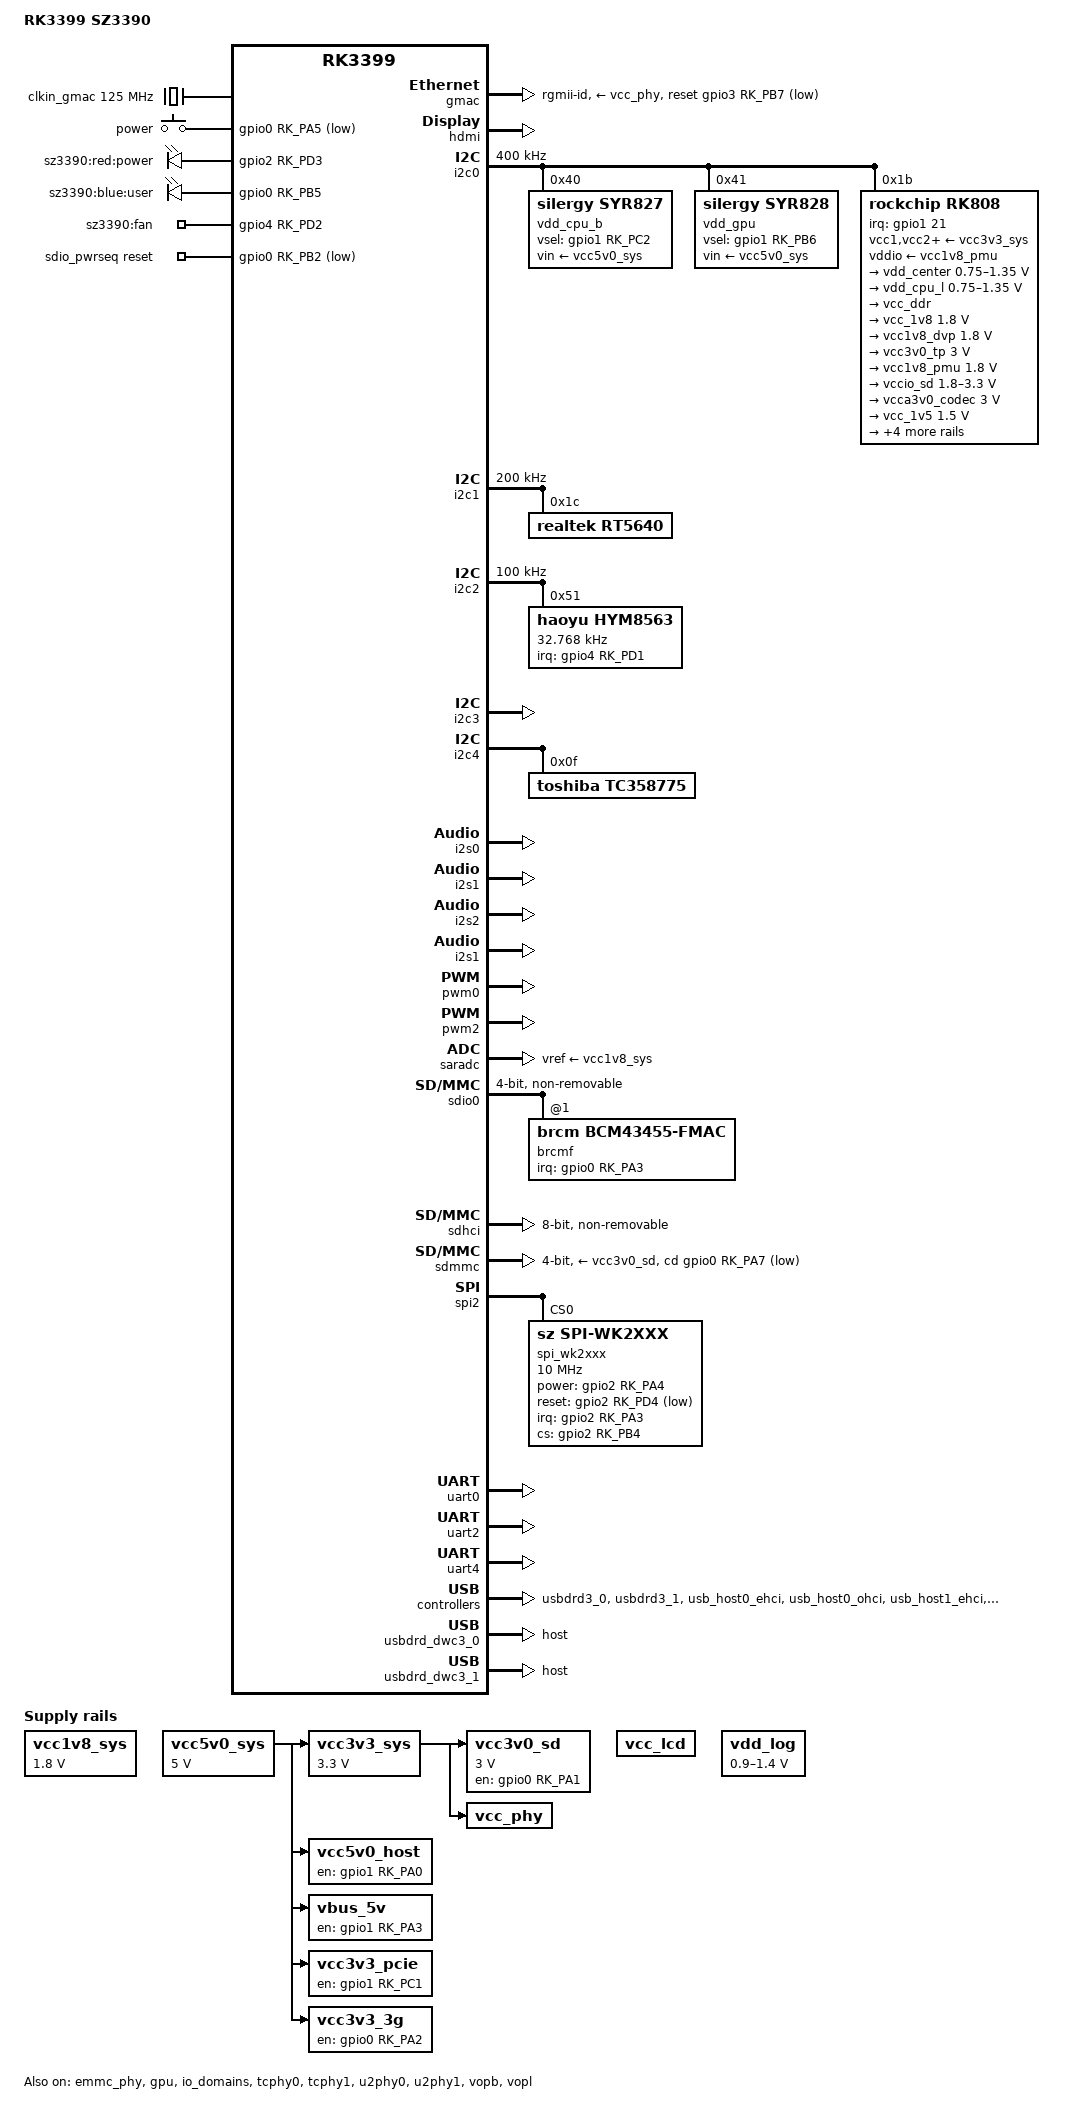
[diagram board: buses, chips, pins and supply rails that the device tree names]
/dts-v1/;
#include "dt-bindings/pwm/pwm.h"
#include "dt-bindings/input/input.h"
#include "rk3399.dtsi"
#include "rk3399-op1.dtsi"

/ {
	model = "RK3399 SZ3390";
	compatible = "rockchip,rk3399-sz3390", "rockchip,rk3399";

	clkin_gmac: external-gmac-clock {
		compatible = "fixed-clock";
		clock-frequency = <125000000>;
		clock-output-names = "clkin_gmac";
		#clock-cells = <0>;
	};

	rt5640-sound {
    	compatible = "simple-audio-card";

    	simple-audio-card,name = "rockchip,rt5640-codec";

    	simple-audio-card,format = "i2s";

    	simple-audio-card,mclk-fs = <256>;

    	simple-audio-card,widgets =
        	"Microphone", "Mic Jack",
        	"Headphone", "Headphone Jack";

    	simple-audio-card,routing =
        	"Mic Jack", "MICBIAS1",
        	"IN1P", "Mic Jack",
        	"Headphone Jack", "HPOL",
        	"Headphone Jack", "HPOR";


    	simple-audio-card,cpu {
        	sound-dai = <&i2s1>;
    	};

    	simple-audio-card,codec {
        	sound-dai = <&rt5640>;
    	};
	};
	hdmi-codec {
		compatible = "simple-audio-card";
		simple-audio-card,format = "i2s";
		simple-audio-card,mclk-fs = <256>;
		simple-audio-card,name = "HDMI-CODEC";

		simple-audio-card,cpu {
			sound-dai = <&i2s2>;
		};

		simple-audio-card,codec {
			sound-dai = <&hdmi>;
		};
	};

	gpio-keys {
		compatible = "gpio-keys";

		power {
			gpios = <&gpio0 RK_PA5 GPIO_ACTIVE_LOW>;
			linux,code = <KEY_POWER>;
			label = "power";
			gpio-key,wakeup;
		};
	};

	leds {
		compatible = "gpio-leds";

		power {
			label = "sz3390:red:power";
			gpios = <&gpio2 RK_PD3 GPIO_ACTIVE_HIGH>;
			default-state = "on";
		};

		user {
			label = "sz3390:blue:user";
			gpios = <&gpio0 RK_PB5 GPIO_ACTIVE_HIGH>;
			default-state = "off";
		};

		fan {
			label = "sz3390:fan";
			gpios = <&gpio4 RK_PD2 GPIO_ACTIVE_HIGH>;
			default-state = "on";
		};
	};

	sdio_pwrseq: sdio-pwrseq {
		compatible = "mmc-pwrseq-simple";
		clocks = <&rk808 1>;
		clock-names = "ext_clock";
		pinctrl-names = "default";
		pinctrl-0 = <&wifi_enable_h>;
		reset-gpios = <&gpio0 RK_PB2 GPIO_ACTIVE_LOW>;
	};

	/* SARADC（Android: vccadc-ref/vcc1v8_sys） */
	vcc1v8_sys: vcc1v8-sys {
		compatible = "regulator-fixed";
		regulator-name = "vcc1v8_sys";
		regulator-always-on;
		regulator-boot-on;
		regulator-min-microvolt = <1800000>;
		regulator-max-microvolt = <1800000>;
	};

	vcc3v0_sd: vcc3v0-sd {
		compatible = "regulator-fixed";
		enable-active-high;
		gpio = <&gpio0 RK_PA1 GPIO_ACTIVE_HIGH>;
		pinctrl-names = "default";
		pinctrl-0 = <&sdmmc0_pwr_h>;
		regulator-always-on;
		regulator-max-microvolt = <3000000>;
		regulator-min-microvolt = <3000000>;
		regulator-name = "vcc_sd";
		vin-supply = <&vcc3v3_sys>;
	};

	vcc3v3_sys: vcc3v3-sys {
		compatible = "regulator-fixed";
		regulator-name = "vcc3v3_sys";
		regulator-always-on;
		regulator-boot-on;
		regulator-min-microvolt = <3300000>;
		regulator-max-microvolt = <3300000>;
		vin-supply = <&vcc5v0_sys>;
	};

	vcc5v0_sys: vcc5v0-sys {
		compatible = "regulator-fixed";
		regulator-name = "vcc5v0_sys";
		regulator-always-on;
		regulator-boot-on;
		regulator-min-microvolt = <5000000>;
		regulator-max-microvolt = <5000000>;
		regulator-state-mem {
			regulator-on-in-suspend;
			regulator-suspend-microvolt = <5000000>;
		};
	};

	/* USB2 HOST 5V */
	vcc5v0_host: vcc5v0-host-regulator {
		compatible = "regulator-fixed";
		enable-active-high;
		gpio = <&gpio1 RK_PA0 GPIO_ACTIVE_HIGH>;
		regulator-name = "vcc5v0_host";
		regulator-always-on;
		vin-supply = <&vcc5v0_sys>;
	};

	/* Type-C/OTG VBUS 5V */
	vbus_5v: vbus-5v-regulator {
		compatible = "regulator-fixed";
		enable-active-high;
		gpio = <&gpio1 RK_PA3 GPIO_ACTIVE_HIGH>;
		regulator-name = "vbus_5v";
		regulator-always-on;
		regulator-boot-on;
		vin-supply = <&vcc5v0_sys>;
	};

	vcc3v3_pcie: vcc3v3-pcie-regulator {
		compatible = "regulator-fixed";
		enable-active-high;
		gpio = <&gpio1 RK_PC1 GPIO_ACTIVE_HIGH>;
		regulator-name = "vcc3v3_pcie";
		regulator-always-on;
		regulator-boot-on;
		vin-supply = <&vcc5v0_sys>;
	};

	vcc3v3_3g: vcc3v3-3g-regulator {
		compatible = "regulator-fixed";
		enable-active-high;
		gpio = <&gpio0 RK_PA2 GPIO_ACTIVE_HIGH>;
		regulator-name = "vcc3v3_3g";
		regulator-always-on;
		regulator-boot-on;
		vin-supply = <&vcc5v0_sys>;
	};

	vcc_phy: vcc-phy-regulator {
		compatible = "regulator-fixed";
		regulator-name = "vcc_phy";
		regulator-always-on;
		regulator-boot-on;
		vin-supply = <&vcc3v3_sys>;
	};

	vcc_lcd: vcc-lcd-regulator {
		compatible = "regulator-fixed";
		regulator-name = "vcc_lcd";
		regulator-always-on;
		regulator-boot-on;
	};

	vdd_log: vdd-log {
		compatible = "pwm-regulator";
		pwms = <&pwm2 0 25000 1>;
		regulator-name = "vdd_log";
		regulator-min-microvolt = <900000>;
		regulator-max-microvolt = <1400000>;
		regulator-always-on;
		regulator-boot-on;
	};
};

&cpu_l0 {
	cpu-supply = <&vdd_cpu_l>;
};

&cpu_l1 {
	cpu-supply = <&vdd_cpu_l>;
};

&cpu_l2 {
	cpu-supply = <&vdd_cpu_l>;
};

&cpu_l3 {
	cpu-supply = <&vdd_cpu_l>;
};

&cpu_b0 {
	cpu-supply = <&vdd_cpu_b>;
};

&cpu_b1 {
	cpu-supply = <&vdd_cpu_b>;
};

&emmc_phy {
	status = "okay";
};

&gmac {
	assigned-clocks = <&cru SCLK_RMII_SRC>;
	assigned-clock-parents = <&clkin_gmac>;
	clock_in_out = "input";
	phy-supply = <&vcc_phy>;
	phy-mode = "rgmii-id";
	pinctrl-names = "default";
	pinctrl-0 = <&rgmii_pins>;
	snps,reset-gpio = <&gpio3 RK_PB7 GPIO_ACTIVE_LOW>;
	snps,reset-active-low;
	snps,reset-delays-us = <0 10000 50000>;
	status = "okay";
};

&gpu {
	mali-supply = <&vdd_gpu>;
	status = "okay";
};

&hdmi_sound {
	status = "disabled";
};

&hdmi {
	#address-cells = <1>;
	#size-cells = <0>;
	#sound-dai-cells = <0>;
	ddc-i2c-scl-high-time-ns = <9625>;
	ddc-i2c-scl-low-time-ns = <10000>;
	ddc-i2c-bus = <&i2c3>;
	pinctrl-names = "default";
	pinctrl-0 = <&hdmi_cec>;
	status = "okay";
	rockchip,phy-table =
		<74250000  0x8009 0x0004 0x0272>,
		<165000000 0x802b 0x0004 0x0209>,
		<297000000 0x8039 0x0005 0x028d>,
		<594000000 0x8039 0x0000 0x00f6>,
		<000000000 0x0000 0x0000 0x0000>;
};

&i2c0 {
	status = "okay";
	i2c-scl-rising-time-ns = <168>;
	i2c-scl-falling-time-ns = <4>;
	clock-frequency = <400000>;

	vdd_cpu_b: regulator@40 {
		compatible = "silergy,syr827";
		reg = <0x40>;
		vin-supply = <&vcc5v0_sys>;
		regulator-compatible = "fan53555-reg";
		pinctrl-names = "default";
		pinctrl-0 = <&vsel1_pin>;
		vsel-gpios = <&gpio1 RK_PC2 GPIO_ACTIVE_HIGH>;
		regulator-name = "vdd_cpu_b";
		regulator-min-microvolt = <712500>;
		regulator-max-microvolt = <1500000>;
		regulator-ramp-delay = <1000>;
		fcs,suspend-voltage-selector = <0>;
		regulator-always-on;
		regulator-boot-on;
		regulator-initial-state = <3>;
		regulator-state-mem {
			regulator-off-in-suspend;
		};
	};

	vdd_gpu: regulator@41 {
		compatible = "silergy,syr828";
		reg = <0x41>;
		vin-supply = <&vcc5v0_sys>;
		regulator-compatible = "fan53555-reg";
		pinctrl-names = "default";
		pinctrl-0 = <&vsel2_pin>;
		vsel-gpios = <&gpio1 RK_PB6 GPIO_ACTIVE_HIGH>;
		regulator-name = "vdd_gpu";
		regulator-min-microvolt = <712500>;
		regulator-max-microvolt = <1500000>;
		regulator-ramp-delay = <1000>;
		fcs,suspend-voltage-selector = <1>;
		regulator-always-on;
		regulator-boot-on;
		regulator-initial-state = <3>;
		regulator-state-mem {
			regulator-off-in-suspend;
		};
	};

	rk808: pmic@1b {
		compatible = "rockchip,rk808";
		reg = <0x1b>;
		interrupt-parent = <&gpio1>;
		interrupts = <21 IRQ_TYPE_LEVEL_LOW>;
		pinctrl-names = "default";
		pinctrl-0 = <&pmic_int_l>;
		rockchip,system-power-controller;
		wakeup-source;
		#clock-cells = <1>;
		clock-output-names = "xin32k", "rk808-clkout2";

		vcc1-supply = <&vcc3v3_sys>;
		vcc2-supply = <&vcc3v3_sys>;
		vcc3-supply = <&vcc3v3_sys>;
		vcc4-supply = <&vcc3v3_sys>;
		vcc6-supply = <&vcc3v3_sys>;
		vcc7-supply = <&vcc3v3_sys>;
		vcc8-supply = <&vcc3v3_sys>;
		vcc9-supply = <&vcc3v3_sys>;
		vcc10-supply = <&vcc3v3_sys>;
		vcc11-supply = <&vcc3v3_sys>;
		vcc12-supply = <&vcc3v3_sys>;
		vddio-supply = <&vcc1v8_pmu>;

		regulators {
			vdd_center: DCDC_REG1 {
				regulator-always-on;
				regulator-boot-on;
				regulator-min-microvolt = <750000>;
				regulator-max-microvolt = <1350000>;
				regulator-ramp-delay = <6001>;
				regulator-name = "vdd_center";
				regulator-state-mem {
					regulator-off-in-suspend;
				};
			};

			vdd_cpu_l: DCDC_REG2 {
				regulator-always-on;
				regulator-boot-on;
				regulator-min-microvolt = <750000>;
				regulator-max-microvolt = <1350000>;
				regulator-ramp-delay = <6001>;
				regulator-name = "vdd_cpu_l";
				regulator-state-mem {
					regulator-off-in-suspend;
				};
			};

			vcc_ddr: DCDC_REG3 {
				regulator-always-on;
				regulator-boot-on;
				regulator-name = "vcc_ddr";
				regulator-state-mem {
					regulator-on-in-suspend;
				};
			};

			vcc_1v8: DCDC_REG4 {
				regulator-always-on;
				regulator-boot-on;
				regulator-min-microvolt = <1800000>;
				regulator-max-microvolt = <1800000>;
				regulator-name = "vcc_1v8";
				regulator-state-mem {
					regulator-on-in-suspend;
					regulator-suspend-microvolt = <1800000>;
				};
			};

			vcc1v8_dvp: LDO_REG1 {
				regulator-always-on;
				regulator-boot-on;
				regulator-min-microvolt = <1800000>;
				regulator-max-microvolt = <1800000>;
				regulator-name = "vcc1v8_dvp";
				regulator-state-mem {
					regulator-off-in-suspend;
				};
			};

			vcc3v0_tp: LDO_REG2 {
				regulator-always-on;
				regulator-boot-on;
				regulator-min-microvolt = <3000000>;
				regulator-max-microvolt = <3000000>;
				regulator-name = "vcc3v0_tp";
				regulator-state-mem {
					regulator-off-in-suspend;
				};
			};

			vcc1v8_pmu: LDO_REG3 {
				regulator-always-on;
				regulator-boot-on;
				regulator-min-microvolt = <1800000>;
				regulator-max-microvolt = <1800000>;
				regulator-name = "vcc1v8_pmu";
				regulator-state-mem {
					regulator-on-in-suspend;
					regulator-suspend-microvolt = <1800000>;
				};
			};

			vccio_sd: LDO_REG4 {
				regulator-always-on;
				regulator-boot-on;
				regulator-min-microvolt = <1800000>;
				regulator-max-microvolt = <3300000>;
				regulator-name = "vccio_sd";
				regulator-state-mem {
					regulator-on-in-suspend;
					regulator-suspend-microvolt = <3300000>;
				};
			};

			vcca3v0_codec: LDO_REG5 {
				regulator-always-on;
				regulator-boot-on;
				regulator-min-microvolt = <3000000>;
				regulator-max-microvolt = <3000000>;
				regulator-name = "vcca3v0_codec";
				regulator-state-mem {
					regulator-off-in-suspend;
				};
			};

			vcc_1v5: LDO_REG6 {
				regulator-always-on;
				regulator-boot-on;
				regulator-min-microvolt = <1500000>;
				regulator-max-microvolt = <1500000>;
				regulator-name = "vcc_1v5";
				regulator-state-mem {
					regulator-on-in-suspend;
					regulator-suspend-microvolt = <1500000>;
				};
			};

			vcca1v8_codec: LDO_REG7 {
				regulator-always-on;
				regulator-boot-on;
				regulator-min-microvolt = <1800000>;
				regulator-max-microvolt = <1800000>;
				regulator-name = "vcca1v8_codec";
				regulator-state-mem {
					regulator-off-in-suspend;
				};
			};

			vcc_3v0: LDO_REG8 {
				regulator-always-on;
				regulator-boot-on;
				regulator-min-microvolt = <3000000>;
				regulator-max-microvolt = <3000000>;
				regulator-name = "vcc_3v0";
				regulator-state-mem {
					regulator-on-in-suspend;
					regulator-suspend-microvolt = <3000000>;
				};
			};

			vcc3v3_s3: SWITCH_REG1 {
				regulator-name = "vcc3v3_s3";
				regulator-always-on;
				regulator-boot-on;
				regulator-state-mem {
					regulator-off-in-suspend;
				};
			};

			vcc3v3_s0: SWITCH_REG2 {
				regulator-always-on;
				regulator-boot-on;
				regulator-name = "vcc3v3_s0";
				regulator-state-mem {
					regulator-off-in-suspend;
				};
			};
		};
	};
};

&i2c1 {
	status = "okay";
	i2c-scl-rising-time-ns = <300>;
	i2c-scl-falling-time-ns = <15>;
	clock-frequency = <200000>;
	rt5640: codec@1c {
		compatible = "realtek,rt5640";
		reg = <0x1c>;

		#sound-dai-cells = <0>;
        clocks = <&cru SCLK_I2S_8CH_OUT>;
        clock-names = "mclk";
        realtek,in1-differential;
		pinctrl-names = "default";
		pinctrl-0 = <&rt5640_hpcon>;
	};
};

&i2c2 {
	status = "okay";
	clock-frequency = <100000>;

	hym8563: rtc@51 {
		compatible = "haoyu,hym8563";
		reg = <0x51>;
		#clock-cells = <0>;
		clock-frequency = <32768>;
		clock-output-names = "hym8563";
		pinctrl-names = "default";
		pinctrl-0 = <&rtc_int>;
		interrupt-parent = <&gpio4>;
		interrupts = <RK_PD1 IRQ_TYPE_EDGE_FALLING>;
	};
};

/* HDMI DDC */
&i2c3 {
	status = "okay";
	i2c-scl-rising-time-ns = <450>;
	i2c-scl-falling-time-ns = <15>;
};

&i2c4 {
	status = "okay";
	i2c-scl-rising-time-ns = <600>;
	i2c-scl-falling-time-ns = <20>;

	/* DSI -> LVDS */
	tc358775: tc358775@f {
		compatible = "toshiba,tc358775";
		reg = <0x0f>;
		status = "okay";
	};
};

&i2s0 {
	#sound-dai-cells = <0>;
	rockchip,playback-channels = <8>;
	rockchip,capture-channels = <8>;
	status = "okay";
};

&i2s1 {
	#sound-dai-cells = <0>;
	rockchip,playback-channels = <2>;
	rockchip,capture-channels = <2>;
	status = "okay";
};

&i2s2 {
	#sound-dai-cells = <0>;
	rockchip,bclk-fs = <128>;
	status = "okay";
};

&io_domains {
	status = "okay";
	bt656-supply = <&vcc_3v0>;
	audio-supply = <&vcca1v8_codec>;
	sdmmc-supply = <&vccio_sd>;
	gpio1830-supply = <&vcc_3v0>;
};

&pmu_io_domains {
	status = "okay";
	pmu1830-supply = <&vcc_3v0>;
};

&pinctrl {
	pmic {
		pmic_int_l: pmic-int-l {
			rockchip,pins =
				<1 RK_PC5 RK_FUNC_GPIO &pcfg_pull_up>;
		};

		vsel1_pin: vsel1-pin {
			rockchip,pins = <1 RK_PC2 RK_FUNC_GPIO &pcfg_pull_down>;
		};

		vsel2_pin: vsel2-pin {
			rockchip,pins = <1 RK_PB6 RK_FUNC_GPIO &pcfg_pull_down>;
		};
	};

	rtc {
		rtc_int: rtc-int {
			rockchip,pins = <4 RK_PD1 RK_FUNC_GPIO &pcfg_pull_up>;
		};
	};

	sd {
		sdmmc0_pwr_h: sdmmc0-pwr-h {
			rockchip,pins =
				<0 RK_PA1 RK_FUNC_GPIO &pcfg_pull_none>;
		};
	};

	sdio-pwrseq {
		wifi_enable_h: wifi-enable-h {
			rockchip,pins = <0 RK_PB2 RK_FUNC_GPIO &pcfg_pull_none>;
		};
	};

	wifi {
		wifi_host_wake_l: wifi-host-wake-l {
			rockchip,pins = <0 RK_PA3 RK_FUNC_GPIO &pcfg_pull_none>;
		};
	};

	i2s1 {
		status = "okay";
	};
	rt5640 {
		rt5640_hpcon: rt5640-hpcon {
			rockchip,pins = <4 RK_PC5 RK_FUNC_GPIO &pcfg_pull_none>;
		};
	};
};

&pwm0 {
	status = "okay";
};

&pwm2 {
	status = "okay";
};

&saradc {
	vref-supply = <&vcc1v8_sys>;
	status = "okay";
};

&sdio0 {
	clock-frequency = <50000000>;
	clock-freq-min-max = <400000 50000000>;
	supports-sdio;
	bus-width = <4>;
	disable-wp;
	cap-sd-highspeed;
	cap-sdio-irq;
	keep-power-in-suspend;
	mmc-pwrseq = <&sdio_pwrseq>;
	non-removable;
	num-slots = <1>;
	pinctrl-names = "default";
	pinctrl-0 = <&sdio0_bus4 &sdio0_cmd &sdio0_clk>;
	//sd-uhs-sdr104;

	#address-cells = <1>;
	#size-cells = <0>;

	status = "okay";

	/* AP6335 (BCM4335) WiFi */
	brcmf: wifi@1 {
		reg = <1>;
		compatible = "brcm,bcm43455-fmac";
		interrupt-parent = <&gpio0>;
		interrupts = <RK_PA3 IRQ_TYPE_LEVEL_HIGH>;
		interrupt-names = "host-wake";
		pinctrl-names = "default";
		pinctrl-0 = <&wifi_host_wake_l>;
	};
};

&sdhci {
	bus-width = <8>;
	mmc-hs400-1_8v;
	mmc-hs400-enhanced-strobe;
	non-removable;
	status = "okay";
};

&sdmmc {
	bus-width = <4>;
	cap-mmc-highspeed;
	cap-sd-highspeed;
	cd-gpios = <&gpio0 RK_PA7 GPIO_ACTIVE_LOW>;
	card-detect-delay = <800>;
	disable-wp;
	max-frequency = <50000000>;
	num-slots = <1>;
	pinctrl-names = "default";
	pinctrl-0 = <&sdmmc_clk &sdmmc_cmd &sdmmc_cd &sdmmc_bus4>;
	vmmc-supply = <&vcc3v0_sd>;
	vqmmc-supply = <&vccio_sd>;
	status = "okay";
};

&spi1 {
	status = "disabled";
};

&spi2 {
	status = "okay";
	max-freq = <10000000>;

	spi_wk2xxx: spi_wk2xxx@0 {
		status = "okay";
		compatible = "sz,spi-wk2xxx";
		reg = <0x0>;
		spi-max-frequency = <10000000>;
		power-gpio = <&gpio2 RK_PA4 GPIO_ACTIVE_HIGH>;
		reset-gpio = <&gpio2 RK_PD4 GPIO_ACTIVE_LOW>;
		irq-gpio = <&gpio2 RK_PA3 GPIO_ACTIVE_HIGH>;
		cs-gpio = <&gpio2 RK_PB4 GPIO_ACTIVE_HIGH>;
	};
};

&tcphy0 {
	status = "okay";
};

&tcphy1 {
	status = "okay";
};

&u2phy0 {
	status = "okay";

	u2phy0_otg: otg-port {
		vbus-supply = <&vbus_5v>;
		status = "okay";
	};

	u2phy0_host: host-port {
		status = "okay";
	};
};

&u2phy1 {
	status = "okay";

	u2phy1_otg: otg-port {
		status = "okay";
	};

	u2phy1_host: host-port {
		phy-supply = <&vcc5v0_host>;
		status = "okay";
	};
};

&uart0 {
	pinctrl-names = "default";
	pinctrl-0 = <&uart0_xfer &uart0_cts>;
	status = "okay";
};

&uart2 {
	status = "okay";
};

&uart4 {
	status = "okay";
};

&usbdrd3_0 {
	status = "okay";
};

&usbdrd3_1 {
	status = "okay";
};

&usbdrd_dwc3_0 {
	status = "okay";
	dr_mode = "host";
};

&usbdrd_dwc3_1 {
	status = "okay";
	dr_mode = "host";
};

&usb_host0_ehci {
	status = "okay";
};

&usb_host0_ohci {
	status = "okay";
};

&usb_host1_ehci {
	status = "okay";
};

&usb_host1_ohci {
	status = "okay";
};

&vopb {
	status = "okay";
};

&vopb_mmu {
	status = "okay";
};

&vopl {
	status = "okay";
};

&vopl_mmu {
	status = "okay";
};
